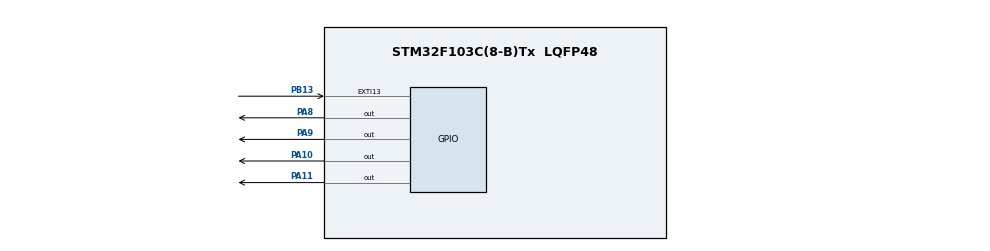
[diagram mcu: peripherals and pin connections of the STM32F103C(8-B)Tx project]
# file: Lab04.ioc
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Mcu.Family=STM32F1
Mcu.Name=STM32F103C(8-B)Tx
Mcu.Package=LQFP48
NVIC.EXTI15_10_IRQn=true\:0\:0\:false\:true\:true\:4\:true\:true\:true
NVIC.PriorityGroup=NVIC_PRIORITYGROUP_4
NVIC.TIM2_IRQn=true\:1\:0\:true\:true\:true\:3\:true\:true\:true
NVIC.TIM3_IRQn=true\:1\:0\:true\:true\:true\:1\:true\:true\:true
NVIC.TIM4_IRQn=true\:1\:0\:true\:true\:true\:2\:true\:true\:true
PA10.Signal=GPIO_Output
PA11.Signal=GPIO_Output
PA8.Signal=GPIO_Output
PA9.Signal=GPIO_Output
PB13.GPIO_ModeDefaultEXTI=GPIO_MODE_IT_RISING_FALLING
PB13.Signal=GPXTI13
ProjectManager.HeapSize=0x200
ProjectManager.StackSize=0x400
ProjectManager.TargetToolchain=STM32CubeIDE
RCC.APB1Freq_Value=8000000
RCC.APB2Freq_Value=8000000
TIM2.Period=200
TIM2.Prescaler=8000
TIM2.TIM_MasterOutputTrigger=TIM_TRGO_UPDATE
TIM3.Period=800
TIM3.Prescaler=8000
TIM4.Period=100
TIM4.Prescaler=8000
VP_TIM2_VS_ClockSourceINT.Mode=Internal
VP_TIM3_VS_ClockSourceINT.Mode=Internal
VP_TIM4_VS_ClockSourceINT.Mode=Internal
board=custom

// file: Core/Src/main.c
/* USER CODE BEGIN Header */
/**
  ******************************************************************************
  * @file           : main.c
  * @brief          : Main program body
  ******************************************************************************
  * @attention
  *
  * Copyright (c) 2023 STMicroelectronics.
  * All rights reserved.
  *
  * This software is licensed under terms that can be found in the LICENSE file
  * in the root directory of this software component.
  * If no LICENSE file comes with this software, it is provided AS-IS.
  *
  ******************************************************************************
  */
/* USER CODE END Header */
#include "main.h"
#include "tim.h"
#include "gpio.h"

void SystemClock_Config(void);
static void MX_NVIC_Init(void);

int main(void)
{

  /* MCU Configuration--------------------------------------------------------*/

  /* Reset of all peripherals, Initializes the Flash interface and the Systick. */
  HAL_Init();

  /* Configure the system clock */
  SystemClock_Config();

  /* Initialize all configured peripherals */
  MX_GPIO_Init();
  MX_TIM2_Init();
  MX_TIM3_Init();
  MX_TIM4_Init();

  /* Initialize interrupts */
  MX_NVIC_Init();
  /* USER CODE BEGIN 2 */
  HAL_TIM_Base_Start_IT(&htim2);
  HAL_TIM_Base_Start_IT(&htim3);
  HAL_TIM_Base_Start_IT(&htim4);
  /* USER CODE END 2 */

  /* Infinite loop */
  /* USER CODE BEGIN WHILE */
  while (1)
  {

	  HAL_GPIO_TogglePin(GPIOA, GPIO_PIN_11);
	  HAL_Delay(500);
    /* USER CODE END WHILE */

  }
}

void SystemClock_Config(void)
{
  RCC_OscInitTypeDef RCC_OscInitStruct = {0};
  RCC_ClkInitTypeDef RCC_ClkInitStruct = {0};

  /** Initializes the RCC Oscillators according to the specified parameters
  * in the RCC_OscInitTypeDef structure.
  */
  RCC_OscInitStruct.OscillatorType = RCC_OSCILLATORTYPE_HSI;
  RCC_OscInitStruct.HSIState = RCC_HSI_ON;
  RCC_OscInitStruct.HSICalibrationValue = RCC_HSICALIBRATION_DEFAULT;
  RCC_OscInitStruct.PLL.PLLState = RCC_PLL_NONE;
  if (HAL_RCC_OscConfig(&RCC_OscInitStruct) != HAL_OK)
  {
    Error_Handler();
  }

  /** Initializes the CPU, AHB and APB buses clocks
  */
  RCC_ClkInitStruct.ClockType = RCC_CLOCKTYPE_HCLK|RCC_CLOCKTYPE_SYSCLK
                              |RCC_CLOCKTYPE_PCLK1|RCC_CLOCKTYPE_PCLK2;
  RCC_ClkInitStruct.SYSCLKSource = RCC_SYSCLKSOURCE_HSI;
  RCC_ClkInitStruct.AHBCLKDivider = RCC_SYSCLK_DIV1;
  RCC_ClkInitStruct.APB1CLKDivider = RCC_HCLK_DIV1;
  RCC_ClkInitStruct.APB2CLKDivider = RCC_HCLK_DIV1;

  if (HAL_RCC_ClockConfig(&RCC_ClkInitStruct, FLASH_LATENCY_0) != HAL_OK)
  {
    Error_Handler();
  }
}

/**
  * @brief NVIC Configuration.
  * @retval None
  */
static void MX_NVIC_Init(void)
{
  /* TIM3_IRQn interrupt configuration */
  HAL_NVIC_SetPriority(TIM3_IRQn, 1, 0);
  HAL_NVIC_EnableIRQ(TIM3_IRQn);
  /* TIM4_IRQn interrupt configuration */
  HAL_NVIC_SetPriority(TIM4_IRQn, 1, 0);
  HAL_NVIC_EnableIRQ(TIM4_IRQn);
  /* TIM2_IRQn interrupt configuration */
  HAL_NVIC_SetPriority(TIM2_IRQn, 1, 0);
  HAL_NVIC_EnableIRQ(TIM2_IRQn);
  /* EXTI15_10_IRQn interrupt configuration */
  HAL_NVIC_SetPriority(EXTI15_10_IRQn, 0, 0);
  HAL_NVIC_EnableIRQ(EXTI15_10_IRQn);
}

/* USER CODE BEGIN 4 */
void HAL_GPIO_EXTI_Callback(uint16_t GPIO_Pin)
{
	if(GPIO_Pin == GPIO_PIN_13)
	{

		if(HAL_GPIO_ReadPin(GPIOB, GPIO_PIN_13) == GPIO_PIN_SET)
		{
			HAL_TIM_Base_Stop(&htim2);
			HAL_TIM_Base_Stop(&htim3);
			HAL_TIM_Base_Stop(&htim4);
			HAL_GPIO_WritePin(GPIOA, GPIO_PIN_8 | GPIO_PIN_9 | GPIO_PIN_10, GPIO_PIN_RESET);

		}
		else
		{
			  HAL_TIM_Base_Start_IT(&htim2);
			  HAL_TIM_Base_Start_IT(&htim3);
			  HAL_TIM_Base_Start_IT(&htim4);
		}
	}

}
void HAL_TIM_PeriodElapsedCallback(TIM_HandleTypeDef *htim)
	{
		if(htim->Instance == TIM2)
			{
				HAL_GPIO_TogglePin(GPIOA, GPIO_PIN_8);
			}

		if(htim->Instance == TIM3)
			{
				HAL_GPIO_TogglePin(GPIOA, GPIO_PIN_9);
			}

		if(htim->Instance == TIM4)
			{
				HAL_GPIO_TogglePin(GPIOA, GPIO_PIN_10);
			}
		}

/* USER CODE END 4 */

void Error_Handler(void)
{
  __disable_irq();
  while (1)
  {
  }
}
